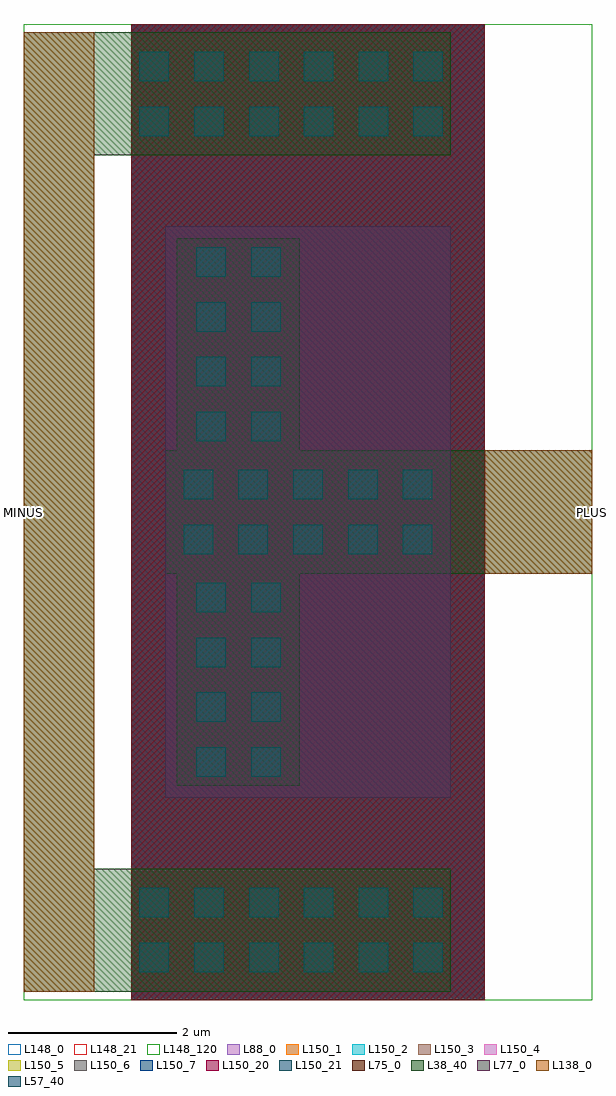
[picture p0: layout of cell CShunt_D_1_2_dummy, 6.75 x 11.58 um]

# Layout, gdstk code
import gdstk
lib = gdstk.Library(unit=1e-6, precision=1e-09)
def R(c, l, rs):  # rectangles x0, y0, x1, y1
    for r in rs: c.add(gdstk.rectangle(r[:2], r[2:], *l))
def A(c, l, x, y, w, h, nx, ny, dx, dy):  # array of equal rectangles
    R(c, l, [(x+i*dx, y+j*dy, x+i*dx+w, y+j*dy+h) for i in range(nx) for j in range(ny)])
L38_40 = (38, 40)
L57_40 = (57, 40)
L75_0 = (75, 0)
L77_0 = (77, 0)
L88_0 = (88, 0)
L138_0 = (138, 0)
L148_0 = (148, 0)
L148_21 = (148, 21)
L148_120 = (148, 120)
L150_1 = (150, 1)
L150_2 = (150, 2)
L150_3 = (150, 3)
L150_4 = (150, 4)
L150_5 = (150, 5)
L150_6 = (150, 6)
L150_7 = (150, 7)
L150_20 = (150, 20)
L150_21 = (150, 21)

cshunt_d_1_2_dummy = lib.new_cell('CShunt_D_1_2_dummy')
R(cshunt_d_1_2_dummy, L38_40, [(-1.68,-2.3,3.39,-0.84), (-1.68,-0.84,-0.84,7.62), (0.14,0.14,1.6,6.64), (0,2.66,5.07,4.12), (-1.68,7.62,3.39,9.08)])
A(cshunt_d_1_2_dummy, L57_40, -0.305, -2.07, 0.35, 0.35, 6, 2, 0.65, 0.65)
A(cshunt_d_1_2_dummy, L57_40, 0.37, 0.25, 0.35, 0.35, 1, 4, 0, 0.65)
A(cshunt_d_1_2_dummy, L57_40, 1.02, 0.25, 0.35, 0.35, 1, 4, 0, 0.65)
A(cshunt_d_1_2_dummy, L57_40, 0.22, 2.89, 0.35, 0.35, 5, 2, 0.65, 0.65)
A(cshunt_d_1_2_dummy, L57_40, 0.37, 4.23, 0.35, 0.35, 1, 4, 0, 0.65)
A(cshunt_d_1_2_dummy, L57_40, 1.02, 4.23, 0.35, 0.35, 1, 4, 0, 0.65)
A(cshunt_d_1_2_dummy, L57_40, -0.305, 7.85, 0.35, 0.35, 6, 2, 0.65, 0.65)
R(cshunt_d_1_2_dummy, L75_0, [(-0.4,-2.4,3.79,9.18)])
R(cshunt_d_1_2_dummy, L77_0, [(0,0,3.39,6.78)])
R(cshunt_d_1_2_dummy, L88_0, [(-0.4,-2.4,3.79,9.18)])
R(cshunt_d_1_2_dummy, L138_0, [(-1.68,-2.3,-0.84,9.08), (3.79,2.66,5.07,4.12)])
R(cshunt_d_1_2_dummy, L148_0, [(-1.68,-2.4,5.07,9.18)])
R(cshunt_d_1_2_dummy, L148_21, [(-1.68,-2.4,5.07,9.18)])
R(cshunt_d_1_2_dummy, L148_120, [(-1.68,-2.4,5.07,9.18)])
R(cshunt_d_1_2_dummy, L150_1, [(-0.4,-2.4,3.79,9.18)])
R(cshunt_d_1_2_dummy, L150_2, [(-0.4,-2.4,3.79,9.18)])
R(cshunt_d_1_2_dummy, L150_3, [(-0.4,-2.4,3.79,9.18)])
R(cshunt_d_1_2_dummy, L150_4, [(-0.4,-2.4,3.79,9.18)])
R(cshunt_d_1_2_dummy, L150_5, [(-0.4,-2.4,3.79,9.18)])
R(cshunt_d_1_2_dummy, L150_6, [(-0.4,-2.4,3.79,9.18)])
R(cshunt_d_1_2_dummy, L150_7, [(-0.4,-2.4,3.79,9.18)])
R(cshunt_d_1_2_dummy, L150_20, [(-0.4,-2.4,3.79,9.18)])
R(cshunt_d_1_2_dummy, L150_21, [(-0.4,-2.4,3.79,9.18)])
cshunt_d_1_2_dummy.add(gdstk.Label('MINUS', (-1.68,3.39), layer=138, texttype=0))
cshunt_d_1_2_dummy.add(gdstk.Label('PLUS', (5.07,3.39), layer=138, texttype=0))

lib.write_gds('CShunt_D_1_2_dummy.gds')
